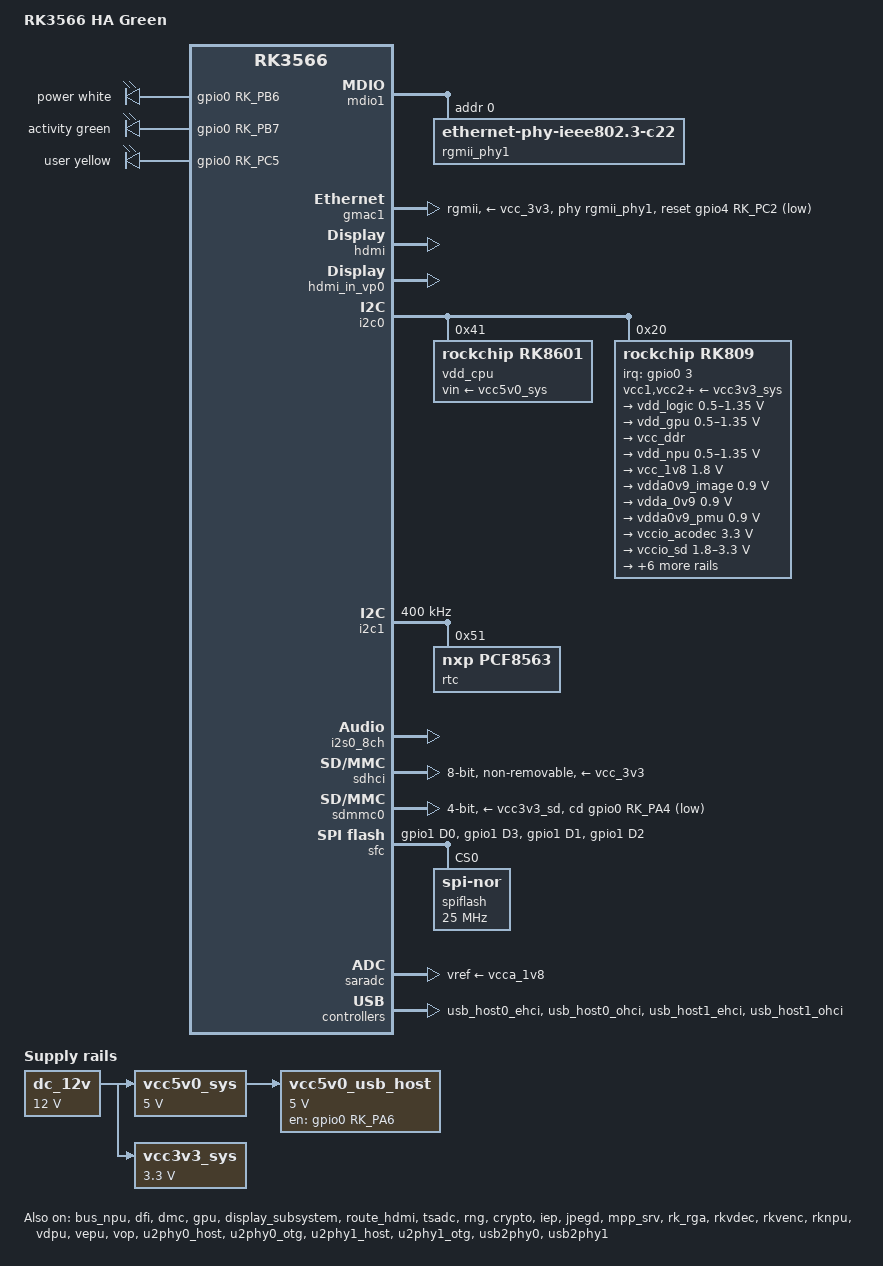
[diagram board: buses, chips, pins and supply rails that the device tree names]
/dts-v1/;
#include <dt-bindings/gpio/gpio.h>
#include <dt-bindings/leds/common.h>
#include <dt-bindings/display/rockchip_vop.h>
#include "rk3566.dtsi"
#include "rk3568-linux.dtsi"

/ {
	model = "RK3566 HA Green";
	compatible = "rockchip,rk3566-ha-green", "rockchip,rk3566";

	chosen: chosen {
		stdout-path = &uart2;
		u-boot,spl-boot-order = &sdmmc0, &sdhci, &sfc;
	};

	aliases: aliases {
		ethernet0 = &gmac1;
		mmc0 = &sdhci;
		mmc1 = &sdmmc0;
		spi4 = &sfc;
	};

	fiq_debugger: fiq-debugger {
		compatible = "rockchip,fiq-debugger";
		rockchip,serial-id = <2>;
		rockchip,wake-irq = <0>;
		rockchip,irq-mode-enable = <1>;
		rockchip,baudrate = <1500000>;
		interrupts = <GIC_SPI 252 IRQ_TYPE_LEVEL_LOW>;
		pinctrl-names = "default";
		pinctrl-0 = <&uart2m0_xfer>;
		status = "okay";
	};

	dc_12v: dc-12v {
		compatible = "regulator-fixed";
		regulator-name = "dc_12v";
		regulator-always-on;
		regulator-boot-on;
		regulator-min-microvolt = <12000000>;
		regulator-max-microvolt = <12000000>;
	};

	vcc5v0_sys: vcc5v0-sys {
		compatible = "regulator-fixed";
		regulator-name = "vcc5v0_sys";
		regulator-always-on;
		regulator-boot-on;
		regulator-min-microvolt = <5000000>;
		regulator-max-microvolt = <5000000>;
		vin-supply = <&dc_12v>;
	};

	vcc5v0_usb_host: vcc5v0-usb-host {
		compatible = "regulator-fixed";
		regulator-name = "vcc5v0_usb_host";
		enable-active-high;
		gpio = <&gpio0 RK_PA6 GPIO_ACTIVE_HIGH>;
		regulator-min-microvolt = <5000000>;
		regulator-max-microvolt = <5000000>;
		vin-supply = <&vcc5v0_sys>;
		pinctrl-names = "default";
		pinctrl-0 = <&vcc5v0_usb_host_en_pin>;
	};

	vcc3v3_sys: vcc3v3-sys {
		compatible = "regulator-fixed";
		regulator-name = "vcc3v3_sys";
		regulator-always-on;
		regulator-boot-on;
		regulator-min-microvolt = <3300000>;
		regulator-max-microvolt = <3300000>;
		vin-supply = <&dc_12v>;
	};

	leds: leds {
		compatible = "gpio-leds";

		led_power: led-power {
			label = "power";
			gpios = <&gpio0 RK_PB6 GPIO_ACTIVE_HIGH>;
			function = LED_FUNCTION_POWER;
			color = <LED_COLOR_ID_WHITE>;
			default-state = "keep";
			linux,default-trigger = "default-on";
			pinctrl-names = "default";
			pinctrl-0 = <&led_power_pin>;
		};

		led_activity: led-activity {
			label = "activity";
			gpios = <&gpio0 RK_PB7 GPIO_ACTIVE_HIGH>;
			function = LED_FUNCTION_ACTIVITY;
			color = <LED_COLOR_ID_GREEN>;
			linux,default-trigger = "activity";
			pinctrl-names = "default";
			pinctrl-0 = <&led_activity_pin>;
		};

		led_user: led-user {
			label = "user";
			gpios = <&gpio0 RK_PC5 GPIO_ACTIVE_HIGH>;
			function = LED_FUNCTION_HEARTBEAT;
			color = <LED_COLOR_ID_YELLOW>;
			linux,default-trigger = "heartbeat";
			pinctrl-names = "default";
			pinctrl-0 = <&led_user_pin>;
		};
	};

	hdmi_sound: hdmi-sound {
		compatible = "simple-audio-card";
		simple-audio-card,format = "i2s";
		simple-audio-card,mclk-fs = <128>;
		simple-audio-card,name = "rockchip,hdmi";
		status = "okay";

		simple-audio-card,cpu {
				sound-dai = <&i2s0_8ch>;
		};
		simple-audio-card,codec {
				sound-dai = <&hdmi>;
		};
	};

	test_power: test-power {
			status = "okay";
	};
};

&mdio1 {
	rgmii_phy1: ethernet-phy@0 {
		compatible = "ethernet-phy-ieee802.3-c22";
		reg = <0x0>;
	};
};

&gmac1 {
	assigned-clocks = <&cru SCLK_GMAC1_RX_TX>, <&cru SCLK_GMAC1>;
	assigned-clock-parents = <&cru SCLK_GMAC1_RGMII_SPEED>;
	assigned-clock-rates = <0>, <125000000>;
	clock_in_out = "output";
	phy-supply = <&vcc_3v3>;

	snps,reset-gpio = <&gpio4 RK_PC2 GPIO_ACTIVE_LOW>;
	snps,reset-active-low;
	snps,reset-delays-us = <0 20000 100000>;

	phy-handle = <&rgmii_phy1>;
	phy-mode = "rgmii";

	tx_delay = <0x47>;
	rx_delay = <0x27>;

	pinctrl-names = "default";
	pinctrl-0 = <&gmac1m0_miim
			 &gmac1m0_tx_bus2
			 &gmac1m0_rx_bus2
			 &gmac1m0_rgmii_clk
			 &gmac1m0_rgmii_bus>;

	status = "okay";
};

&bus_npu {
	bus-supply = <&vdd_logic>;
	pvtm-supply = <&vdd_cpu>;
	status = "okay";
};

&cpu0 {
	cpu-supply = <&vdd_cpu>;
};

&dfi {
	status = "okay";
};

&dmc {
	center-supply = <&vdd_logic>;
	status = "okay";
};

&gpu {
	clock-names = "gpu", "bus";
	interrupt-names = "gpu", "mmu", "job";
	mali-supply = <&vdd_gpu>;
	status = "okay";
};

&display_subsystem {
	status = "okay";
};

&hdmi {
	avdd-0v9-supply = <&vdda_0v9>;
	avdd-1v8-supply = <&vcc_1v8>;
	status = "okay";
};

&hdmi_in_vp0 {
	status = "okay";
};

&hdmi_sound {
	status = "okay";
};

&route_hdmi {
	connect = <&vp0_out_hdmi>;
	status = "okay";
};

&i2c0 {
	status = "okay";

	vdd_cpu: rk8601@41 {
		compatible = "rockchip,rk8601";
		reg = <0x41>;
		vin-supply = <&vcc5v0_sys>;
		regulator-compatible = "rk860x-reg";
		regulator-name = "vdd_cpu";
		regulator-min-microvolt = <712500>;
		regulator-max-microvolt = <1500000>;
		regulator-ramp-delay = <2300>;
		rockchip,suspend-voltage-selector = <1>;
		regulator-boot-on;
		regulator-always-on;
		regulator-state-mem {
			regulator-off-in-suspend;
		};
	};

	rk809: pmic@20 {
		compatible = "rockchip,rk809";
		reg = <0x20>;
		interrupt-parent = <&gpio0>;
		interrupts = <3 IRQ_TYPE_LEVEL_LOW>;

		rockchip,system-power-controller;
		wakeup-source;
		#clock-cells = <1>;
		clock-output-names = "rk808-clkout1", "rk808-clkout2";
		pmic-reset-func = <0>;
		not-save-power-en = <1>;

		pinctrl-names = "default";
		pinctrl-0 = <&pmic_int_l>;

		vcc1-supply = <&vcc3v3_sys>;
		vcc2-supply = <&vcc3v3_sys>;
		vcc3-supply = <&vcc3v3_sys>;
		vcc4-supply = <&vcc3v3_sys>;
		vcc5-supply = <&vcc3v3_sys>;
		vcc6-supply = <&vcc3v3_sys>;
		vcc7-supply = <&vcc3v3_sys>;
		vcc8-supply = <&vcc3v3_sys>;
		vcc9-supply = <&vcc3v3_sys>;

		pwrkey {
			status = "okay";
		};

		regulators {
			vdd_logic: DCDC_REG1 {
				regulator-name = "vdd_logic";
				regulator-always-on;
				regulator-boot-on;
				regulator-init-microvolt = <900000>;
				regulator-initial-mode = <0x2>;
				regulator-min-microvolt = <500000>;
				regulator-max-microvolt = <1350000>;
				regulator-ramp-delay = <6001>;

				regulator-state-mem {
					regulator-off-in-suspend;
				};
			};

			vdd_gpu: DCDC_REG2 {
				regulator-name = "vdd_gpu";
				regulator-always-on;
				regulator-init-microvolt = <900000>;
				regulator-initial-mode = <0x2>;
				regulator-min-microvolt = <500000>;
				regulator-max-microvolt = <1350000>;
				regulator-ramp-delay = <6001>;

				regulator-state-mem {
					regulator-off-in-suspend;
				};
			};

			vcc_ddr: DCDC_REG3 {
				regulator-name = "vcc_ddr";
				regulator-always-on;
				regulator-boot-on;
				regulator-initial-mode = <0x2>;

				regulator-state-mem {
					regulator-on-in-suspend;
				};
			};

			vdd_npu: DCDC_REG4 {
				regulator-name = "vdd_npu";
				regulator-always-on;
				regulator-boot-on;
				regulator-init-microvolt = <900000>;
				regulator-initial-mode = <0x2>;
				regulator-min-microvolt = <500000>;
				regulator-max-microvolt = <1350000>;
				regulator-ramp-delay = <6001>;

				regulator-state-mem {
					regulator-off-in-suspend;
				};
			};

			vcc_1v8: DCDC_REG5 {
				regulator-name = "vcc_1v8";
				regulator-always-on;
				regulator-boot-on;
				regulator-min-microvolt = <1800000>;
				regulator-max-microvolt = <1800000>;

				regulator-state-mem {
					regulator-off-in-suspend;
				};
			};

			vdda0v9_image: LDO_REG1 {
				regulator-name = "vdda0v9_image";
				regulator-always-on;
				regulator-min-microvolt = <900000>;
				regulator-max-microvolt = <900000>;

				regulator-state-mem {
					regulator-off-in-suspend;
				};
			};

			vdda_0v9: LDO_REG2 {
				regulator-name = "vdda_0v9";
				regulator-always-on;
				regulator-boot-on;
				regulator-min-microvolt = <900000>;
				regulator-max-microvolt = <900000>;

				regulator-state-mem {
					regulator-off-in-suspend;
				};
			};

			vdda0v9_pmu: LDO_REG3 {
				regulator-name = "vdda0v9_pmu";
				regulator-always-on;
				regulator-boot-on;
				regulator-min-microvolt = <900000>;
				regulator-max-microvolt = <900000>;

				regulator-state-mem {
					regulator-on-in-suspend;
					regulator-suspend-microvolt = <900000>;
				};
			};

			vccio_acodec: LDO_REG4 {
				regulator-name = "vccio_acodec";
				regulator-always-on;
				regulator-boot-on;
				regulator-min-microvolt = <3300000>;
				regulator-max-microvolt = <3300000>;

				regulator-state-mem {
					regulator-off-in-suspend;
				};
			};

			vccio_sd: LDO_REG5 {
				regulator-name = "vccio_sd";
				regulator-min-microvolt = <1800000>;
				regulator-max-microvolt = <3300000>;

				regulator-state-mem {
					regulator-off-in-suspend;
				};
			};

			vcc3v3_pmu: LDO_REG6 {
				regulator-name = "vcc3v3_pmu";
				regulator-always-on;
				regulator-boot-on;
				regulator-min-microvolt = <3300000>;
				regulator-max-microvolt = <3300000>;

				regulator-state-mem {
					regulator-on-in-suspend;
					regulator-suspend-microvolt = <3300000>;
				};
			};

			vcca_1v8: LDO_REG7 {
				regulator-name = "vcca_1v8";
				regulator-always-on;
				regulator-boot-on;
				regulator-min-microvolt = <1800000>;
				regulator-max-microvolt = <1800000>;

				regulator-state-mem {
					regulator-off-in-suspend;
				};
			};

			vcca1v8_pmu: LDO_REG8 {
				regulator-name = "vcca1v8_pmu";
				regulator-always-on;
				regulator-boot-on;
				regulator-min-microvolt = <1800000>;
				regulator-max-microvolt = <1800000>;

				regulator-state-mem {
					regulator-on-in-suspend;
					regulator-suspend-microvolt = <1800000>;
				};
			};

			vcca1v8_image: LDO_REG9 {
				regulator-name = "vcca1v8_image";
				regulator-always-on;
				regulator-min-microvolt = <1800000>;
				regulator-max-microvolt = <1800000>;

				regulator-state-mem {
					regulator-off-in-suspend;
				};
			};

			vcc_3v3: SWITCH_REG1 {
				regulator-name = "vcc_3v3";
				regulator-always-on;
				regulator-boot-on;

				regulator-state-mem {
					regulator-off-in-suspend;
				};
			};

			vcc3v3_sd: SWITCH_REG2 {
				regulator-name = "vcc3v3_sd";

				regulator-state-mem {
					regulator-off-in-suspend;
				};
			};
		};
	};
};

&i2c1 {
	clock-frequency = <400000>;
	status = "okay";

	rtc: rtc@51 {
		compatible = "nxp,pcf8563";
		reg = <0x51>;
		#clock-cells = <0>;
	};
};

&i2s0_8ch {
	status = "okay";
};

&pmu_io_domains {
	pmuio1-supply = <&vcc3v3_pmu>;
	pmuio2-supply = <&vcc3v3_pmu>;
	vccio1-supply = <&vccio_acodec>;
	vccio2-supply = <&vcc_1v8>;
	vccio3-supply = <&vccio_sd>;
	vccio4-supply = <&vcc_1v8>;
	vccio5-supply = <&vcc_1v8>;
	vccio6-supply = <&vcc_1v8>;
	vccio7-supply = <&vcc_3v3>;
	status = "okay";
};

&sdhci {
	bus-width = <8>;
	mmc-hs200-1_8v;
	no-sdio;
	no-sd;
	non-removable;
	max-frequency = <200000000>;
	vmmc-supply = <&vcc_3v3>;
	vqmmc-supply = <&vcc_1v8>;
	pinctrl-names = "default";
	pinctrl-0 = <&emmc_clk &emmc_cmd &emmc_bus8>;
	status = "okay";
};

&sdmmc0 {
	bus-width = <4>;
	cap-sd-highspeed;
	cd-gpios = <&gpio0 RK_PA4 GPIO_ACTIVE_LOW>;
	disable-wp;
	sd-uhs-sdr104;
	max-frequency = <100000000>;
	vmmc-supply = <&vcc3v3_sd>;
	vqmmc-supply = <&vccio_sd>;
	pinctrl-names = "default";
	pinctrl-0 = <&sdmmc0_bus4 &sdmmc0_clk &sdmmc0_cmd>;
	status = "okay";
};

&sfc {
	#address-cells = <1>;
	#size-cells = <0>;
	pinctrl-names = "default";
	pinctrl-0 = <&fspi_dual_io_pins>;
	status = "okay";

	spiflash: flash@0 {
		compatible = "jedec,spi-nor";
		reg = <0>;
		spi-max-frequency = <25000000>;
		spi-rx-bus-width = <1>;
		spi-tx-bus-width = <1>;
	};
};

&tsadc {
	rockchip,hw-tshut-mode = <1>;
	rockchip,hw-tshut-polarity = <0>;
	status = "okay";
};

&saradc {
	vref-supply = <&vcca_1v8>;
	status = "okay";
};

&uart2 {
	status = "disabled";
};

&rng {
	status = "okay";
};

&crypto {
	status = "okay";
};

&iep {
	status = "okay";
};

&iep_mmu {
	status = "okay";
};

&jpegd {
	status = "okay";
};

&jpegd_mmu {
	status = "okay";
};

&mpp_srv {
	status = "okay";
};

&rk_rga {
	status = "okay";
};

&rkvdec {
	status = "okay";
};

&rkvdec_mmu {
	status = "okay";
};

&rkvenc {
	venc-supply = <&vdd_logic>;
	status = "okay";
};

&rkvenc_mmu {
	status = "okay";
};

&rknpu {
	rknpu-supply = <&vdd_npu>;
	status = "okay";
};

&rknpu_mmu {
	status = "okay";
};

&vdpu {
	status = "okay";
};

&vdpu_mmu {
	status = "okay";
};

&vepu {
	status = "okay";
};

&vepu_mmu {
	status = "okay";
};

&vop {
	assigned-clocks = <&cru DCLK_VOP0>, <&cru DCLK_VOP1>;
	assigned-clock-parents = <&pmucru PLL_HPLL>, <&cru PLL_VPLL>;
	status = "okay";
};

&vop_mmu {
	status = "okay";
};

&vp0 {
	rockchip,plane-mask = <(1 << ROCKCHIP_VOP2_CLUSTER0 | 1 << ROCKCHIP_VOP2_ESMART0)>;
	rockchip,primary-plane = <ROCKCHIP_VOP2_ESMART0>;
};

&u2phy0_host {
	phy-supply = <&vcc5v0_usb_host>;
	status = "okay";
};

&u2phy0_otg {
	phy-supply = <&vcc5v0_usb_host>;
	status = "okay";
};

&u2phy1_host {
	phy-supply = <&vcc5v0_usb_host>;
	status = "okay";
};

&u2phy1_otg {
	phy-supply = <&vcc5v0_usb_host>;
	status = "okay";
};

&usb2phy0 {
	status = "okay";
};

&usb2phy1 {
	status = "okay";
};

&usb_host0_ehci {
	status = "okay";
};

&usb_host0_ohci {
	status = "okay";
};

&usb_host1_ehci {
	status = "okay";
};

&usb_host1_ohci {
	status = "okay";
};

&pinctrl {
	fspi {
		fspi_dual_io_pins: fspi-dual-io-pins {
			rockchip,pins =
				/* fspi_clk */
				<1 RK_PD0 1 &pcfg_pull_none>,
				/* fspi_cs0n */
				<1 RK_PD3 1 &pcfg_pull_none>,
				/* fspi_d0 */
				<1 RK_PD1 1 &pcfg_pull_none>,
				/* fspi_d1 */
				<1 RK_PD2 1 &pcfg_pull_none>;
		};
	};

	ethernet {
		eth_phy_rst: eth_phy_rst {
			rockchip,pins = <4 RK_PC2 RK_FUNC_GPIO &pcfg_pull_none>;
		};
	};

	leds {
		led_power_pin: led-power-pin {
			rockchip,pins = <0 RK_PB6 RK_FUNC_GPIO &pcfg_pull_none>;
		};
		led_activity_pin: led-activity-pin {
			rockchip,pins = <0 RK_PB7 RK_FUNC_GPIO &pcfg_pull_none>;
		};
		led_user_pin: led-user-pin {
			rockchip,pins = <0 RK_PC5 RK_FUNC_GPIO &pcfg_pull_none>;
		};
	};

	pmic {
		pmic_int_l: pmic-int-l {
			rockchip,pins = <0 RK_PA3 RK_FUNC_GPIO &pcfg_pull_up>;
		};
	};

	usb {
		vcc5v0_usb_host_en_pin: vcc5v0-usb-host-en-pin {
			rockchip,pins = <0 RK_PA6 RK_FUNC_GPIO &pcfg_pull_none>;
		};
	};
};

